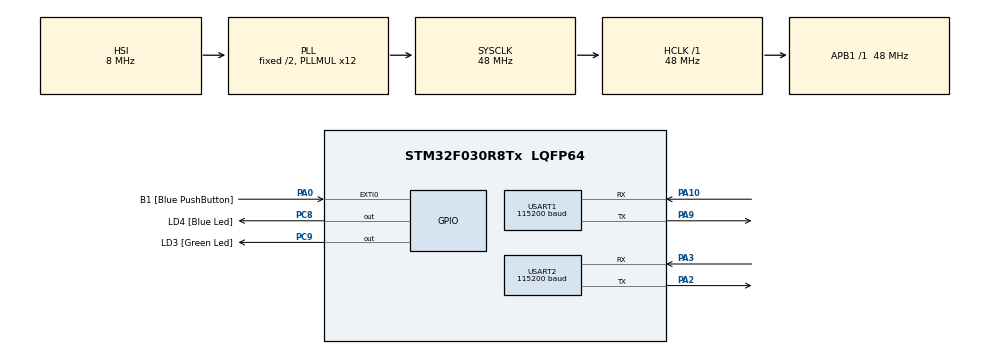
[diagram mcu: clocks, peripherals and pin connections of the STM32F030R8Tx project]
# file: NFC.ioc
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Mcu.Family=STM32F0
PA10.Mode=Asynchronous
PC9.GPIO_Label=LD3 [Green Led]
USART1.BaudRate=115200
PA14.GPIO_Label=SWCLK
PA0.GPIO_Label=B1 [Blue PushButton]
PC8.Signal=GPIO_Output
NVIC.USART2_IRQn=true\:0\:0\:false\:false\:true\:true\:true
USART2.BaudRate=115200
RCC.SYSCLKSource=RCC_SYSCLKSOURCE_PLLCLK
ProjectManager.StackSize=0x400
PC8.GPIO_Label=LD4 [Blue Led]
USART1.VirtualMode-Asynchronous=VM_ASYNC
PA3.Mode=Asynchronous
PA13.Signal=SYS_SWDIO
PA9.Mode=Asynchronous
ProjectManager.TargetToolchain=TrueSTUDIO
RCC.HCLKFreq_Value=48000000
PA9.Signal=USART1_TX
RCC.AHBFreq_Value=48000000
board=32F0308DISCOVERY
USART2.VirtualMode-Asynchronous=VM_ASYNC
RCC.PLLMUL=RCC_PLL_MUL12
PA0.GPIO_ModeDefaultEXTI=GPIO_MODE_EVT_RISING
Mcu.Name=STM32F030R8Tx
PA2.Signal=USART2_TX
PA13.GPIO_Label=SWDIO
PA0.Signal=GPXTI0
RCC.SYSCLKFreq_VALUE=48000000
Mcu.Package=LQFP64
PA10.Signal=USART1_RX
PA14.Signal=SYS_SWCLK
ProjectManager.HeapSize=0x200
RCC.APB1TimFreq_Value=48000000
PA2.Mode=Asynchronous
PC9.Signal=GPIO_Output
NVIC.USART1_IRQn=true\:0\:0\:false\:false\:true\:true\:true
RCC.APB1Freq_Value=48000000
PA3.Signal=USART2_RX

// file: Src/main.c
/* USER CODE BEGIN Header */
/**
  ******************************************************************************
  * @file           : main.c
  * @brief          : Main program body
  ******************************************************************************
  * @attention
  *
  * <h2><center>&copy; Copyright (c) 2020 STMicroelectronics.
  * All rights reserved.</center></h2>
  *
  * This software component is licensed by ST under BSD 3-Clause license,
  * the "License"; You may not use this file except in compliance with the
  * License. You may obtain a copy of the License at:
  *                        opensource.org/licenses/BSD-3-Clause
  *
  ******************************************************************************
  */
/* USER CODE END Header */

#include "main.h"

/* USER CODE BEGIN Includes */
#include <stdio.h>
#include "pn532.h"
#include "cuart.h"

/* USER CODE END Includes */

UART_HandleTypeDef huart1;
UART_HandleTypeDef huart2;

/* USER CODE BEGIN PV */

void HAL_UART_RxCpltCallback(UART_HandleTypeDef *huart)
{
	if (huart->Instance == DEBUG_USART_INSTANCE) {
		cuart_isr(huart);
	}
	else{
		pn532_isr(huart);
	}

}
/* USER CODE END PV */

void SystemClock_Config(void);
static void MX_GPIO_Init(void);
static void MX_USART1_UART_Init(void);
static void MX_USART2_UART_Init(void);

int main(void)
{
  /* USER CODE BEGIN 1 */
  setvbuf(stdout,0, _IOLBF, 0);

  /* USER CODE END 1 */

  /* MCU Configuration--------------------------------------------------------*/

  /* Reset of all peripherals, Initializes the Flash interface and the Systick. */
  HAL_Init();

  /* Configure the system clock */
  SystemClock_Config();

  /* Initialize all configured peripherals */
  MX_GPIO_Init();
  MX_USART1_UART_Init();
  MX_USART2_UART_Init();
  /* USER CODE BEGIN 2 */
	dbg_setup();
	pn532_init();
	pn532_wake_up();
	get_fw_version();
	dbg_register_task(get_fw_version,"version",0);
	dbg_register_task(get_fw_version_wk,"versionwk",0);

	dbg_register_task(get_status,"status",0);
	dbg_register_task(pn532_list_targets,"list",0);
	dbg_register_task(pn532_sam_config,"sam",0);

	printf("NFC start %s\r\n",__DATE__);
  /* USER CODE END 2 */

  /* Infinite loop */
  while (1)
  {

    /* USER CODE BEGIN 3 */
    dbg_command_scan();
    pn532_listener();

  }
  /* USER CODE END 3 */
}

void SystemClock_Config(void)
{
  RCC_OscInitTypeDef RCC_OscInitStruct = {0};
  RCC_ClkInitTypeDef RCC_ClkInitStruct = {0};
  RCC_PeriphCLKInitTypeDef PeriphClkInit = {0};

  /** Initializes the CPU, AHB and APB busses clocks
  */
  RCC_OscInitStruct.OscillatorType = RCC_OSCILLATORTYPE_HSI;
  RCC_OscInitStruct.HSIState = RCC_HSI_ON;
  RCC_OscInitStruct.HSICalibrationValue = RCC_HSICALIBRATION_DEFAULT;
  RCC_OscInitStruct.PLL.PLLState = RCC_PLL_ON;
  RCC_OscInitStruct.PLL.PLLSource = RCC_PLLSOURCE_HSI;
  RCC_OscInitStruct.PLL.PLLMUL = RCC_PLL_MUL12;
  RCC_OscInitStruct.PLL.PREDIV = RCC_PREDIV_DIV1;
  if (HAL_RCC_OscConfig(&RCC_OscInitStruct) != HAL_OK)
  {
    Error_Handler();
  }
  /** Initializes the CPU, AHB and APB busses clocks
  */
  RCC_ClkInitStruct.ClockType = RCC_CLOCKTYPE_HCLK|RCC_CLOCKTYPE_SYSCLK
                              |RCC_CLOCKTYPE_PCLK1;
  RCC_ClkInitStruct.SYSCLKSource = RCC_SYSCLKSOURCE_PLLCLK;
  RCC_ClkInitStruct.AHBCLKDivider = RCC_SYSCLK_DIV1;
  RCC_ClkInitStruct.APB1CLKDivider = RCC_HCLK_DIV1;

  if (HAL_RCC_ClockConfig(&RCC_ClkInitStruct, FLASH_LATENCY_1) != HAL_OK)
  {
    Error_Handler();
  }
  PeriphClkInit.PeriphClockSelection = RCC_PERIPHCLK_USART1;
  PeriphClkInit.Usart1ClockSelection = RCC_USART1CLKSOURCE_PCLK1;
  if (HAL_RCCEx_PeriphCLKConfig(&PeriphClkInit) != HAL_OK)
  {
    Error_Handler();
  }
}

static void MX_USART1_UART_Init(void)
{

  huart1.Instance = USART1;
  huart1.Init.BaudRate = 115200;
  huart1.Init.WordLength = UART_WORDLENGTH_8B;
  huart1.Init.StopBits = UART_STOPBITS_1;
  huart1.Init.Parity = UART_PARITY_NONE;
  huart1.Init.Mode = UART_MODE_TX_RX;
  huart1.Init.HwFlowCtl = UART_HWCONTROL_NONE;
  huart1.Init.OverSampling = UART_OVERSAMPLING_16;
  huart1.Init.OneBitSampling = UART_ONE_BIT_SAMPLE_DISABLE;
  huart1.AdvancedInit.AdvFeatureInit = UART_ADVFEATURE_NO_INIT;
  if (HAL_UART_Init(&huart1) != HAL_OK)
  {
    Error_Handler();
  }

}

static void MX_USART2_UART_Init(void)
{

  huart2.Instance = USART2;
  huart2.Init.BaudRate = 115200;
  huart2.Init.WordLength = UART_WORDLENGTH_8B;
  huart2.Init.StopBits = UART_STOPBITS_1;
  huart2.Init.Parity = UART_PARITY_NONE;
  huart2.Init.Mode = UART_MODE_TX_RX;
  huart2.Init.HwFlowCtl = UART_HWCONTROL_NONE;
  huart2.Init.OverSampling = UART_OVERSAMPLING_16;
  huart2.Init.OneBitSampling = UART_ONE_BIT_SAMPLE_DISABLE;
  huart2.AdvancedInit.AdvFeatureInit = UART_ADVFEATURE_NO_INIT;
  if (HAL_UART_Init(&huart2) != HAL_OK)
  {
    Error_Handler();
  }

}

static void MX_GPIO_Init(void)
{
  GPIO_InitTypeDef GPIO_InitStruct = {0};

  /* GPIO Ports Clock Enable */
  __HAL_RCC_GPIOA_CLK_ENABLE();
  __HAL_RCC_GPIOC_CLK_ENABLE();

  /*Configure GPIO pin Output Level */
  HAL_GPIO_WritePin(GPIOC, LD4_Pin|LD3_Pin, GPIO_PIN_RESET);

  /*Configure GPIO pin : B1_Pin */
  GPIO_InitStruct.Pin = B1_Pin;
  GPIO_InitStruct.Mode = GPIO_MODE_EVT_RISING;
  GPIO_InitStruct.Pull = GPIO_NOPULL;
  HAL_GPIO_Init(B1_GPIO_Port, &GPIO_InitStruct);

  /*Configure GPIO pins : LD4_Pin LD3_Pin */
  GPIO_InitStruct.Pin = LD4_Pin|LD3_Pin;
  GPIO_InitStruct.Mode = GPIO_MODE_OUTPUT_PP;
  GPIO_InitStruct.Pull = GPIO_NOPULL;
  GPIO_InitStruct.Speed = GPIO_SPEED_FREQ_LOW;
  HAL_GPIO_Init(GPIOC, &GPIO_InitStruct);

}

void Error_Handler(void)
{
}

/************************ (C) COPYRIGHT STMicroelectronics *****END OF FILE****/
